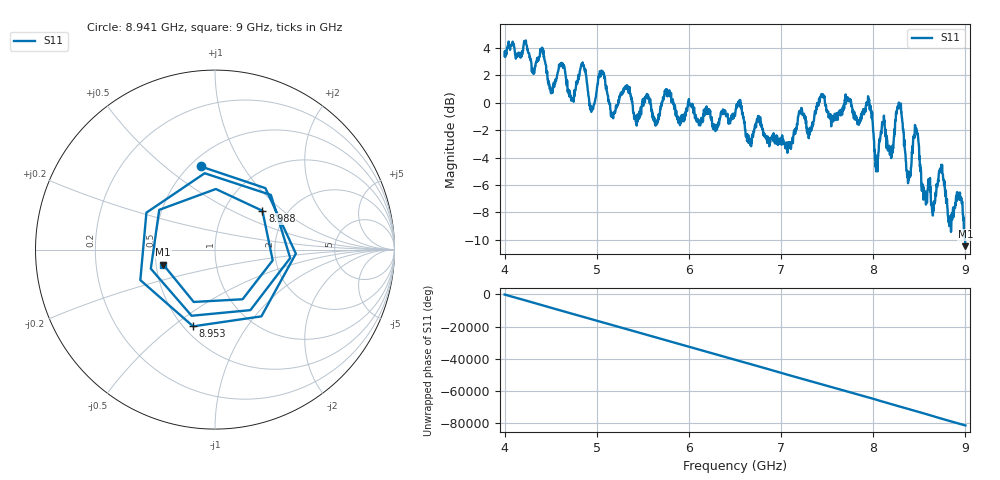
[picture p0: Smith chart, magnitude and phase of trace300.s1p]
! Created with skrf 1.8.0 (http://scikit-rf.org).
# Hz S RI R 50.0
!freq ReS11 ImS11
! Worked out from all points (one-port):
!   1601 points, 4 GHz to 9 GHz, reference 50 ohm
!   lowest |S11| = -10.5 dB at 9 GHz (marker M1), VSWR 1.86, Z = 27.3 - j5.02 ohm
!   |S11| at or under -10 dB: 8.994528 GHz to end of sweep
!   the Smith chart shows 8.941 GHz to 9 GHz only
!   S11 on the Smith chart (normalised r, x): 8.941 GHz: 0.56, +0.67; 8.953 GHz: 0.56, -0.59; 8.988 GHz: 1.50, +0.74; 9 GHz: 0.55, -0.10
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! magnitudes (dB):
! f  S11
! 4 GHz  3.4
! 4.409 GHz  3.9
! 4.503 GHz  0.7
! 4.625 GHz  2.7
! 4.728 GHz  0.4
! 4.844 GHz  2.9
! 4.944 GHz  -0.4
! 5.05 GHz  2.4
! 5.172 GHz  -1.0
! 5.25 GHz  0.4
! 5.875 GHz  -1.2
! 6.5 GHz  -1.0
! 7.125 GHz  -2.5
! 7.438 GHz  0.6
! 7.75 GHz  0.3
! 7.956 GHz  0.2
! 8.038 GHz  -4.5
! 8.203 GHz  -3.6
! 8.284 GHz  -0.2
! 8.375 GHz  -5.5
! 8.462 GHz  -1.9
! 8.559 GHz  -6.4
! 8.734 GHz  -5.0
! 8.831 GHz  -8.9
! 8.941 GHz  -6.5
! 8.953 GHz  -7.0
! 8.988 GHz  -9.3
! 9 GHz  -10.5
